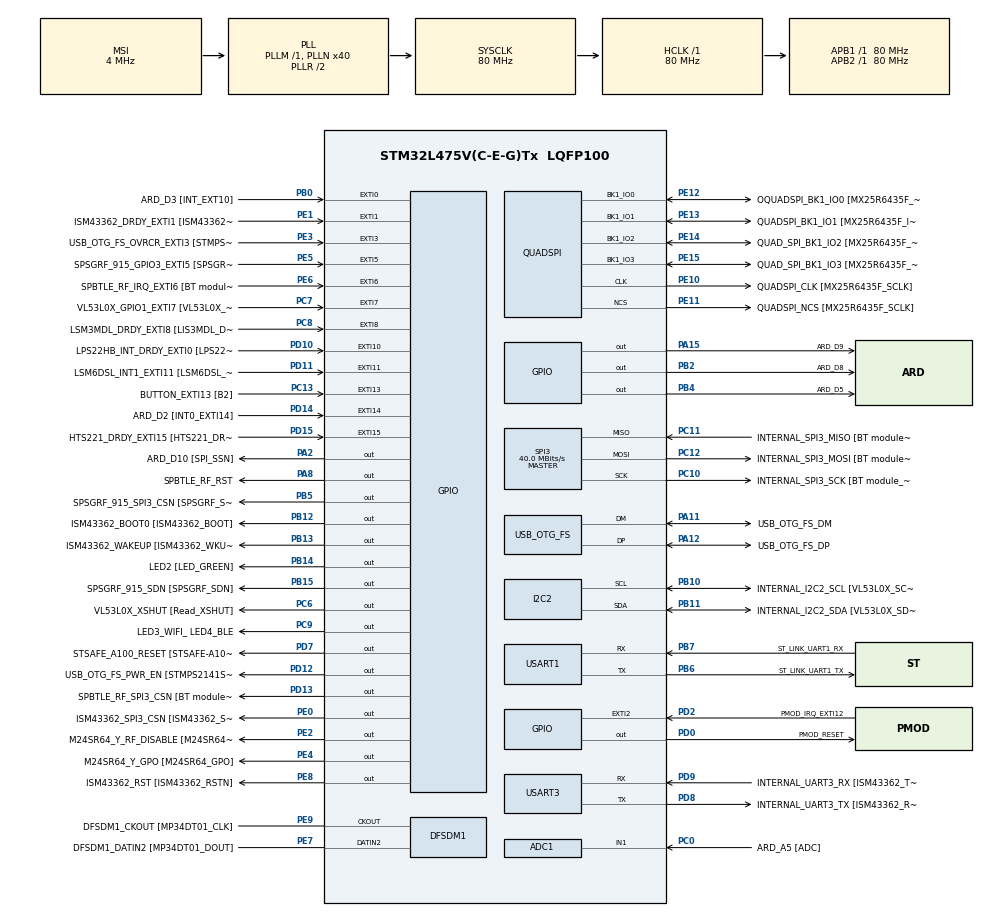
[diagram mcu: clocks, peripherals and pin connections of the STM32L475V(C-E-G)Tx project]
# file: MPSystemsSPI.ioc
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ADC1.Channel-1\#ChannelRegularConversion=ADC_CHANNEL_1
ADC1.NbrOfConversionFlag=1
ADC1.OffsetNumber-1\#ChannelRegularConversion=ADC_OFFSET_NONE
ADC1.Rank-1\#ChannelRegularConversion=1
ADC1.SamplingTime-1\#ChannelRegularConversion=ADC_SAMPLETIME_2CYCLES_5
ADC1.master=1
Dma.Request0=USART1_TX
Dma.USART1_TX.0.Direction=DMA_MEMORY_TO_PERIPH
Dma.USART1_TX.0.Instance=DMA1_Channel4
Dma.USART1_TX.0.MemDataAlignment=DMA_MDATAALIGN_BYTE
Dma.USART1_TX.0.MemInc=DMA_MINC_ENABLE
Dma.USART1_TX.0.Mode=DMA_NORMAL
Dma.USART1_TX.0.PeriphDataAlignment=DMA_PDATAALIGN_BYTE
Dma.USART1_TX.0.PeriphInc=DMA_PINC_DISABLE
Dma.USART1_TX.0.Priority=DMA_PRIORITY_LOW
I2C2.Timing=0x10909CEC
Mcu.Family=STM32L4
Mcu.Name=STM32L475V(C-E-G)Tx
Mcu.Package=LQFP100
NVIC.ADC1_2_IRQn=true\:0\:0\:false\:false\:true\:true\:true
NVIC.DMA1_Channel4_IRQn=true\:0\:0\:false\:false\:true\:false\:true
NVIC.EXTI15_10_IRQn=true\:0\:0\:false\:false\:true\:true\:true
NVIC.EXTI9_5_IRQn=true\:0\:0\:false\:false\:true\:true\:true
NVIC.PriorityGroup=NVIC_PRIORITYGROUP_4
NVIC.USART1_IRQn=true\:0\:0\:false\:false\:true\:true\:true
PA0.GPIO_Label=ARD_D1 [UART4_TX]
PA0.Signal=UART4_TX
PA1.GPIO_Label=ARD_D0 [UART4_RX]
PA1.Signal=UART4_RX
PA10.GPIO_Label=USB_OTG_FS_ID
PA10.Signal=USB_OTG_FS_ID
PA11.GPIO_Label=USB_OTG_FS_DM
PA11.Mode=Device_Only
PA11.Signal=USB_OTG_FS_DM
PA12.GPIO_Label=USB_OTG_FS_DP
PA12.Mode=Device_Only
PA12.Signal=USB_OTG_FS_DP
PA13\ (JTMS-SWDIO).GPIO_Label=SYS_JTMS_SWDIO
PA13\ (JTMS-SWDIO).Mode=Serial_Wire
PA13\ (JTMS-SWDIO).Signal=SYS_JTMS-SWDIO
PA14\ (JTCK-SWCLK).GPIO_Label=SYS_JTCK_SWCLK
PA14\ (JTCK-SWCLK).Mode=Serial_Wire
PA14\ (JTCK-SWCLK).Signal=SYS_JTCK-SWCLK
PA15\ (JTDI).GPIO_Label=ARD_D9
PA15\ (JTDI).Signal=GPIO_Output
PA2.GPIO_Label=ARD_D10 [SPI_SSN]
PA2.Signal=GPIO_Output
PA3.GPIO_Label=ARD_D4
PA3.Signal=S_TIM2_CH4
PA4.GPIO_Label=ARD_D7
PA4.Signal=ADCx_IN9
PA5.GPIO_Label=ARD_D13 [SPI1_SCK]
PA5.Signal=SPI1_SCK
PA6.GPIO_Label=ARD_D12 [SPI1_MISO]
PA6.Signal=SPI1_MISO
PA7.GPIO_Label=ARD_D11 [SPI1_MOSI]
PA7.Signal=SPI1_MOSI
PA8.GPIO_Label=SPBTLE_RF_RST
PA8.Signal=GPIO_Output
PA9.GPIO_Label=USB_OTG_FS_VBUS [STMPS2141STR_OUT]
PA9.Signal=USB_OTG_FS_VBUS
PB0.GPIO_Label=ARD_D3 [INT_EXT10]
PB0.Signal=GPXTI0
PB1.GPIO_Label=ARD_D6 [ADC1_IN6]
PB1.Signal=ADCx_IN16
PB10.GPIO_Label=INTERNAL_I2C2_SCL [VL53L0X_SCL]
PB10.Mode=I2C
PB10.Signal=I2C2_SCL
PB11.GPIO_Label=INTERNAL_I2C2_SDA [VL53L0X_SDA]
PB11.Mode=I2C
PB11.Signal=I2C2_SDA
PB12.GPIO_Label=ISM43362_BOOT0 [ISM43362_BOOT]
PB12.Signal=GPIO_Output
PB13.GPIO_Label=ISM43362_WAKEUP [ISM43362_WKUP]
PB13.Signal=GPIO_Output
PB14.GPIO_Label=LED2 [LED_GREEN]
PB14.Signal=GPIO_Output
PB15.GPIO_Label=SPSGRF_915_SDN [SPSGRF_SDN]
PB15.Signal=GPIO_Output
PB2.GPIO_Label=ARD_D8
PB2.Signal=GPIO_Output
PB3\ (JTDO-TRACESWO).GPIO_Label=SYS_JTD0_SWO
PB3\ (JTDO-TRACESWO).Signal=SYS_JTDO-SWO
PB4\ (NJTRST).GPIO_Label=ARD_D5
PB4\ (NJTRST).Signal=GPIO_Output
PB5.GPIO_Label=SPSGRF_915_SPI3_CSN [SPSGRF_SPI_CS]
PB5.PinState=GPIO_PIN_SET
PB5.Signal=GPIO_Output
PB6.GPIO_Label=ST_LINK_UART1_TX
PB6.Mode=Asynchronous
PB6.Signal=USART1_TX
PB7.GPIO_Label=ST_LINK_UART1_RX
PB7.Mode=Asynchronous
PB7.Signal=USART1_RX
PB8.GPIO_Label=ARD_D15 [I2C1_SCL]
PB8.Signal=I2C1_SCL
PB9.GPIO_Label=ARD_D14 [I2C1_SDA]
PB9.Signal=I2C1_SDA
PC0.GPIO_Label=ARD_A5 [ADC]
PC0.Signal=ADCx_IN1
PC1.GPIO_Label=ARD_A4 [ADC]
PC1.Signal=ADCx_IN2
PC10.GPIO_Label=INTERNAL_SPI3_SCK [BT module_SPI_SCLK] [ISM43362_SCK]
PC10.Mode=Full_Duplex_Master
PC10.Signal=SPI3_SCK
PC11.GPIO_Label=INTERNAL_SPI3_MISO [BT module_SPI_MISO] [ISM43362_MISO]
PC11.Mode=Full_Duplex_Master
PC11.Signal=SPI3_MISO
PC12.GPIO_Label=INTERNAL_SPI3_MOSI [BT module_SPI_MOSI] [ISM43362_MOSI]
PC12.Mode=Full_Duplex_Master
PC12.Signal=SPI3_MOSI
PC13.GPIO_Label=BUTTON_EXTI13 [B2]
PC13.GPIO_ModeDefaultEXTI=GPIO_MODE_IT_FALLING
PC13.Signal=GPXTI13
PC14-OSC32_IN\ (PC14).Mode=LSE-External-Oscillator
PC14-OSC32_IN\ (PC14).Signal=RCC_OSC32_IN
PC15-OSC32_OUT\ (PC15).Mode=LSE-External-Oscillator
PC15-OSC32_OUT\ (PC15).Signal=RCC_OSC32_OUT
PC2.GPIO_Label=ARD_A3 [ADC]
PC2.Signal=ADCx_IN3
PC3.GPIO_Label=ARD_A2 [ADC]
PC3.Signal=ADCx_IN4
PC4.GPIO_Label=ARD_A1 [ADC]
PC4.Signal=ADCx_IN13
PC5.GPIO_Label=ARD_A0 [ADC]
PC5.Signal=ADCx_IN14
PC6.GPIO_Label=VL53L0X_XSHUT [Read_XSHUT]
PC6.Signal=GPIO_Output
PC7.GPIO_Label=VL53L0X_GPIO1_EXTI7 [VL53L0X_GPIO1]
PC7.Signal=GPXTI7
PC8.GPIO_Label=LSM3MDL_DRDY_EXTI8 [LIS3MDL_DRDY]
PC8.Signal=GPXTI8
PC9.GPIO_Label=LED3_WIFI_ LED4_BLE
PC9.Signal=GPIO_Output
PD0.GPIO_Label=PMOD_RESET
PD0.Signal=GPIO_Output
PD1.GPIO_Label=PMOD_SPI2_SCK
PD1.Signal=SPI2_SCK
PD10.GPIO_Label=LPS22HB_INT_DRDY_EXTI0 [LPS22HB_INT_DRDY] 
PD10.Signal=GPXTI10
PD11.GPIO_Label=LSM6DSL_INT1_EXTI11 [LSM6DSL_INT1]
PD11.Signal=GPXTI11
PD12.GPIO_Label=USB_OTG_FS_PWR_EN [STMPS2141STR_EN]
PD12.Signal=GPIO_Output
PD13.GPIO_Label=SPBTLE_RF_SPI3_CSN [BT module_SPI_CS]
PD13.PinState=GPIO_PIN_SET
PD13.Signal=GPIO_Output
PD14.GPIO_Label=ARD_D2 [INT0_EXTI14]
PD14.Signal=GPXTI14
PD15.GPIO_Label=HTS221_DRDY_EXTI15 [HTS221_DRDY]
PD15.Signal=GPXTI15
PD2.GPIO_Label=PMOD_IRQ_EXTI12
PD2.Signal=GPXTI2
PD3.GPIO_Label=PMOD_UART2_CTS
PD3.Signal=USART2_CTS
PD4.GPIO_Label=PMOD_UART2_RTS
PD4.Signal=USART2_RTS
PD5.GPIO_Label=PMOD_UART2_TX
PD5.Signal=USART2_TX
PD6.GPIO_Label=PMOD_UART2_RX
PD6.Signal=USART2_RX
PD7.GPIO_Label=STSAFE_A100_RESET [STSAFE-A100_RESET]
PD7.Signal=GPIO_Output
PD8.GPIO_Label=INTERNAL_UART3_TX [ISM43362_RX]
PD8.Mode=Asynchronous
PD8.Signal=USART3_TX
PD9.GPIO_Label=INTERNAL_UART3_RX [ISM43362_TX]
PD9.Mode=Asynchronous
PD9.Signal=USART3_RX
PE0.GPIO_Label=ISM43362_SPI3_CSN [ISM43362_SSN]
PE0.PinState=GPIO_PIN_SET
PE0.Signal=GPIO_Output
PE1.GPIO_Label=ISM43362_DRDY_EXTI1 [ISM43362_DATARDY]
PE1.Signal=GPXTI1
PE10.GPIO_Label=QUADSPI_CLK [MX25R6435F_SCLK]
PE10.Mode=Single Bank
PE10.Signal=QUADSPI_CLK
PE11.GPIO_Label=QUADSPI_NCS [MX25R6435F_SCLK]
PE11.Mode=Single Bank
PE11.Signal=QUADSPI_NCS
PE12.GPIO_Label=OQUADSPI_BK1_IO0 [MX25R6435F_IO0]
PE12.Mode=Single Bank
PE12.Signal=QUADSPI_BK1_IO0
PE13.GPIO_Label=QUADSPI_BK1_IO1 [MX25R6435F_IO1]
PE13.Mode=Single Bank
PE13.Signal=QUADSPI_BK1_IO1
PE14.GPIO_Label=QUAD_SPI_BK1_IO2 [MX25R6435F_IO2]
PE14.Mode=Single Bank
PE14.Signal=QUADSPI_BK1_IO2
PE15.GPIO_Label=QUAD_SPI_BK1_IO3 [MX25R6435F_IO3]
PE15.Mode=Single Bank
PE15.Signal=QUADSPI_BK1_IO3
PE2.GPIO_Label=M24SR64_Y_RF_DISABLE [M24SR64_RFDIS]
PE2.Signal=GPIO_Output
PE3.GPIO_Label=USB_OTG_FS_OVRCR_EXTI3 [STMPS2141STR_FAULT]
PE3.Signal=GPXTI3
PE4.GPIO_Label=M24SR64_Y_GPO [M24SR64_GPO]
PE4.Signal=GPIO_Output
PE5.GPIO_Label=SPSGRF_915_GPIO3_EXTI5 [SPSGRF_GPIO_3]
PE5.Signal=GPXTI5
PE6.GPIO_Label=SPBTLE_RF_IRQ_EXTI6 [BT module_SPI_IRQ]
PE6.Signal=GPXTI6
PE7.GPIO_Label=DFSDM1_DATIN2 [MP34DT01_DOUT]
PE7.Signal=S_DATAIN2DFSDM1
PE8.GPIO_Label=ISM43362_RST [ISM43362_RSTN]
PE8.Signal=GPIO_Output
PE9.GPIO_Label=DFSDM1_CKOUT [MP34DT01_CLK]
PE9.Signal=S_CKOUTDFSDM1
ProjectManager.HeapSize=0x200
ProjectManager.StackSize=0x400
ProjectManager.TargetToolchain=STM32CubeIDE
RCC.ADCFreq_Value=48000000
RCC.AHBFreq_Value=80000000
RCC.APB1Freq_Value=80000000
RCC.APB1TimFreq_Value=80000000
RCC.APB2Freq_Value=80000000
RCC.APB2TimFreq_Value=80000000
RCC.CortexFreq_Value=80000000
RCC.HCLKFreq_Value=80000000
RCC.HSE_VALUE=8000000
RCC.HSI_VALUE=16000000
RCC.MSI_VALUE=4000000
RCC.PLLN=40
RCC.PLLSAI1N=24
RCC.SYSCLKFreq_VALUE=80000000
RCC.SYSCLKSource=RCC_SYSCLKSOURCE_PLLCLK
RCC.USBFreq_Value=48000000
RCC.VCOOutputFreq_Value=160000000
SH.ADCx_IN1.0=ADC1_IN1,IN1-Single-Ended
SH.ADCx_IN13.0=ADC1_IN13
SH.ADCx_IN14.0=ADC1_IN14
SH.ADCx_IN16.0=ADC1_IN16
SH.ADCx_IN2.0=ADC1_IN2
SH.ADCx_IN3.0=ADC1_IN3
SH.ADCx_IN4.0=ADC1_IN4
SH.ADCx_IN9.0=ADC1_IN9
SH.S_CKOUTDFSDM1.0=DFSDM1_CKOUT,CKOUT
SH.S_CKOUTDFSDM1.1=DFSDM1_CKOUT,PDM_SPI_Input_from_ch12_and_Internal_Clock
SH.S_DATAIN2DFSDM1.0=DFSDM1_DATIN2,PDM_SPI_Input_from_ch12_and_Internal_Clock
SH.S_TIM2_CH4.0=TIM2_CH4
SPI3.CalculateBaudRate=40.0 MBits/s
SPI3.Direction=SPI_DIRECTION_2LINES
SPI3.Mode=SPI_MODE_MASTER
SPI3.VirtualType=VM_MASTER
USART1.VirtualMode-Asynchronous=VM_ASYNC
USART3.VirtualMode-Asynchronous=VM_ASYNC
USB_OTG_FS.VirtualMode=Device_Only
board=B-L475E-IOT01A1

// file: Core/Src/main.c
/* USER CODE BEGIN Header */
/**
 * *****************************************************************************
 * Name: Jonathan Dean
 * Assignment: #2
 * Program Summary:
 * This program reads Temperature and Humidity values. When a button is pressed
 * (PC13), the program switches to reading Accelerometer values. When pressed
 * again, it switches back to reading Temperature and Humidity.
 * *****************************************************************************
  ******************************************************************************
  * @file           : main.c
  * @brief          : Main program body
  ******************************************************************************
  * @attention
  *
  * <h2><center>&copy; Copyright (c) 2020 STMicroelectronics.
  * All rights reserved.</center></h2>
  *
  * This software component is licensed by ST under BSD 3-Clause license,
  * the "License"; You may not use this file except in compliance with the
  * License. You may obtain a copy of the License at:
  *                        opensource.org/licenses/BSD-3-Clause
  *
  ******************************************************************************
  */
/* USER CODE END Header */
#include "main.h"

/* USER CODE BEGIN Includes */
#include <stdint.h>
#include "SensorManager.h"
#include "Time.h" // Custom Time Library"
#include "wifi.h"
#include "ADC.h"
#include "DebugUART.h"
/* USER CODE END Includes */

/* USER CODE BEGIN PD */
#define BUTTON_DEBOUNCE_TIME_MS MS(100)
/* USER CODE END PD */

ADC_HandleTypeDef hadc1;

DFSDM_Channel_HandleTypeDef hdfsdm1_channel1;

I2C_HandleTypeDef hi2c2;

QSPI_HandleTypeDef hqspi;

SPI_HandleTypeDef hspi3;

UART_HandleTypeDef huart1;
UART_HandleTypeDef huart3;
DMA_HandleTypeDef hdma_usart1_tx;

PCD_HandleTypeDef hpcd_USB_OTG_FS;

void SystemClock_Config(void);
static void MX_GPIO_Init(void);
static void MX_DMA_Init(void);
static void MX_DFSDM1_Init(void);
static void MX_I2C2_Init(void);
static void MX_QUADSPI_Init(void);
static void MX_SPI3_Init(void);
static void MX_USART1_UART_Init(void);
static void MX_USART3_UART_Init(void);
static void MX_USB_OTG_FS_PCD_Init(void);
static void MX_ADC1_Init(void);

int main(void)
{

  /* MCU Configuration--------------------------------------------------------*/

  /* Reset of all peripherals, Initializes the Flash interface and the Systick. */
  HAL_Init();

  /* Configure the system clock */
  SystemClock_Config();

  /* USER CODE BEGIN SysInit */
  Time_Init(); // initialize timer
  /* USER CODE END SysInit */

  /* Initialize all configured peripherals */
  MX_GPIO_Init();
  MX_DMA_Init();
  MX_DFSDM1_Init();
  MX_I2C2_Init();
  MX_QUADSPI_Init();
  MX_SPI3_Init();
  MX_USART1_UART_Init();
  MX_USART3_UART_Init();
  MX_USB_OTG_FS_PCD_Init();
  MX_ADC1_Init();
  /* USER CODE BEGIN 2 */
  /*if (WIFI_Init() == WIFI_STATUS_OK)
  {
  // Remember not to commit this with actual credentials
	  if (WIFI_Connect("SSID","PASS",WIFI_ECN_WPA2_PSK) != WIFI_STATUS_OK)
	  {
		  uint8_t TARGET_IP[4] = {XXX,XXX,XXX,XXX};
		  if (WIFI_OpenClientConnection(SOC_NUMBER, WIFI_TCP_PROTOCOL, "XXXXXXX", TARGET_IP, PORT, L_PORT) == WIFI_STATUS_OK)
		  {

		  }
	  }
  }
  else
  {
	// Wifi Failed to Initialize
  }*/
  DebugUARTInit(&huart1); // initialize uart debug readout

  ADC_Init(&hadc1, ADC_MOISTURE);

  SensorInit(STTemperature);
  SensorInit(STHumidity);
  SensorInit(STAccelerometerX);
  SensorInit(STAccelerometerY);
  SensorInit(STAccelerometerZ);
  SensorInit(STSoilMoisture);
  //SensorInit(STGyroscopeX);
  //SensorInit(STGyroscopeY);
  //SensorInit(STGyroscopeZ);
  EnableSensor(STTemperature);
  EnableSensor(STHumidity);
  EnableSensor(STSoilMoisture);

  /* USER CODE END 2 */

  /* Infinite loop */
  while (1)
  {

    /* USER CODE BEGIN 3 */

	  ADC_ReadTask();
	  SensorTask();

  }
  /* USER CODE END 3 */
}

void SystemClock_Config(void)
{
  RCC_OscInitTypeDef RCC_OscInitStruct = {0};
  RCC_ClkInitTypeDef RCC_ClkInitStruct = {0};
  RCC_PeriphCLKInitTypeDef PeriphClkInit = {0};

  /** Configure LSE Drive Capability
  */
  HAL_PWR_EnableBkUpAccess();
  __HAL_RCC_LSEDRIVE_CONFIG(RCC_LSEDRIVE_LOW);
  /** Initializes the RCC Oscillators according to the specified parameters
  * in the RCC_OscInitTypeDef structure.
  */
  RCC_OscInitStruct.OscillatorType = RCC_OSCILLATORTYPE_LSE|RCC_OSCILLATORTYPE_MSI;
  RCC_OscInitStruct.LSEState = RCC_LSE_ON;
  RCC_OscInitStruct.MSIState = RCC_MSI_ON;
  RCC_OscInitStruct.MSICalibrationValue = 0;
  RCC_OscInitStruct.MSIClockRange = RCC_MSIRANGE_6;
  RCC_OscInitStruct.PLL.PLLState = RCC_PLL_ON;
  RCC_OscInitStruct.PLL.PLLSource = RCC_PLLSOURCE_MSI;
  RCC_OscInitStruct.PLL.PLLM = 1;
  RCC_OscInitStruct.PLL.PLLN = 40;
  RCC_OscInitStruct.PLL.PLLP = RCC_PLLP_DIV7;
  RCC_OscInitStruct.PLL.PLLQ = RCC_PLLQ_DIV2;
  RCC_OscInitStruct.PLL.PLLR = RCC_PLLR_DIV2;
  if (HAL_RCC_OscConfig(&RCC_OscInitStruct) != HAL_OK)
  {
    Error_Handler();
  }
  /** Initializes the CPU, AHB and APB buses clocks
  */
  RCC_ClkInitStruct.ClockType = RCC_CLOCKTYPE_HCLK|RCC_CLOCKTYPE_SYSCLK
                              |RCC_CLOCKTYPE_PCLK1|RCC_CLOCKTYPE_PCLK2;
  RCC_ClkInitStruct.SYSCLKSource = RCC_SYSCLKSOURCE_PLLCLK;
  RCC_ClkInitStruct.AHBCLKDivider = RCC_SYSCLK_DIV1;
  RCC_ClkInitStruct.APB1CLKDivider = RCC_HCLK_DIV1;
  RCC_ClkInitStruct.APB2CLKDivider = RCC_HCLK_DIV1;

  if (HAL_RCC_ClockConfig(&RCC_ClkInitStruct, FLASH_LATENCY_4) != HAL_OK)
  {
    Error_Handler();
  }
  PeriphClkInit.PeriphClockSelection = RCC_PERIPHCLK_USART1|RCC_PERIPHCLK_USART3
                              |RCC_PERIPHCLK_I2C2|RCC_PERIPHCLK_DFSDM1
                              |RCC_PERIPHCLK_USB|RCC_PERIPHCLK_ADC;
  PeriphClkInit.Usart1ClockSelection = RCC_USART1CLKSOURCE_PCLK2;
  PeriphClkInit.Usart3ClockSelection = RCC_USART3CLKSOURCE_PCLK1;
  PeriphClkInit.I2c2ClockSelection = RCC_I2C2CLKSOURCE_PCLK1;
  PeriphClkInit.AdcClockSelection = RCC_ADCCLKSOURCE_PLLSAI1;
  PeriphClkInit.Dfsdm1ClockSelection = RCC_DFSDM1CLKSOURCE_PCLK;
  PeriphClkInit.UsbClockSelection = RCC_USBCLKSOURCE_PLLSAI1;
  PeriphClkInit.PLLSAI1.PLLSAI1Source = RCC_PLLSOURCE_MSI;
  PeriphClkInit.PLLSAI1.PLLSAI1M = 1;
  PeriphClkInit.PLLSAI1.PLLSAI1N = 24;
  PeriphClkInit.PLLSAI1.PLLSAI1P = RCC_PLLP_DIV7;
  PeriphClkInit.PLLSAI1.PLLSAI1Q = RCC_PLLQ_DIV2;
  PeriphClkInit.PLLSAI1.PLLSAI1R = RCC_PLLR_DIV2;
  PeriphClkInit.PLLSAI1.PLLSAI1ClockOut = RCC_PLLSAI1_48M2CLK|RCC_PLLSAI1_ADC1CLK;
  if (HAL_RCCEx_PeriphCLKConfig(&PeriphClkInit) != HAL_OK)
  {
    Error_Handler();
  }
  /** Configure the main internal regulator output voltage
  */
  if (HAL_PWREx_ControlVoltageScaling(PWR_REGULATOR_VOLTAGE_SCALE1) != HAL_OK)
  {
    Error_Handler();
  }
  /** Enable MSI Auto calibration
  */
  HAL_RCCEx_EnableMSIPLLMode();
}

static void MX_ADC1_Init(void)
{

  ADC_MultiModeTypeDef multimode = {0};
  ADC_ChannelConfTypeDef sConfig = {0};

  /** Common config
  */
  hadc1.Instance = ADC1;
  hadc1.Init.ClockPrescaler = ADC_CLOCK_ASYNC_DIV1;
  hadc1.Init.Resolution = ADC_RESOLUTION_12B;
  hadc1.Init.DataAlign = ADC_DATAALIGN_RIGHT;
  hadc1.Init.ScanConvMode = ADC_SCAN_DISABLE;
  hadc1.Init.EOCSelection = ADC_EOC_SINGLE_CONV;
  hadc1.Init.LowPowerAutoWait = DISABLE;
  hadc1.Init.ContinuousConvMode = DISABLE;
  hadc1.Init.NbrOfConversion = 1;
  hadc1.Init.DiscontinuousConvMode = DISABLE;
  hadc1.Init.ExternalTrigConv = ADC_SOFTWARE_START;
  hadc1.Init.ExternalTrigConvEdge = ADC_EXTERNALTRIGCONVEDGE_NONE;
  hadc1.Init.DMAContinuousRequests = DISABLE;
  hadc1.Init.Overrun = ADC_OVR_DATA_PRESERVED;
  hadc1.Init.OversamplingMode = DISABLE;
  if (HAL_ADC_Init(&hadc1) != HAL_OK)
  {
    Error_Handler();
  }
  /** Configure the ADC multi-mode
  */
  multimode.Mode = ADC_MODE_INDEPENDENT;
  if (HAL_ADCEx_MultiModeConfigChannel(&hadc1, &multimode) != HAL_OK)
  {
    Error_Handler();
  }
  /** Configure Regular Channel
  */
  sConfig.Channel = ADC_CHANNEL_1;
  sConfig.Rank = ADC_REGULAR_RANK_1;
  sConfig.SamplingTime = ADC_SAMPLETIME_2CYCLES_5;
  sConfig.SingleDiff = ADC_SINGLE_ENDED;
  sConfig.OffsetNumber = ADC_OFFSET_NONE;
  sConfig.Offset = 0;
  if (HAL_ADC_ConfigChannel(&hadc1, &sConfig) != HAL_OK)
  {
    Error_Handler();
  }

}

static void MX_DFSDM1_Init(void)
{

  hdfsdm1_channel1.Instance = DFSDM1_Channel1;
  hdfsdm1_channel1.Init.OutputClock.Activation = ENABLE;
  hdfsdm1_channel1.Init.OutputClock.Selection = DFSDM_CHANNEL_OUTPUT_CLOCK_SYSTEM;
  hdfsdm1_channel1.Init.OutputClock.Divider = 2;
  hdfsdm1_channel1.Init.Input.Multiplexer = DFSDM_CHANNEL_EXTERNAL_INPUTS;
  hdfsdm1_channel1.Init.Input.DataPacking = DFSDM_CHANNEL_STANDARD_MODE;
  hdfsdm1_channel1.Init.Input.Pins = DFSDM_CHANNEL_FOLLOWING_CHANNEL_PINS;
  hdfsdm1_channel1.Init.SerialInterface.Type = DFSDM_CHANNEL_SPI_RISING;
  hdfsdm1_channel1.Init.SerialInterface.SpiClock = DFSDM_CHANNEL_SPI_CLOCK_INTERNAL;
  hdfsdm1_channel1.Init.Awd.FilterOrder = DFSDM_CHANNEL_FASTSINC_ORDER;
  hdfsdm1_channel1.Init.Awd.Oversampling = 1;
  hdfsdm1_channel1.Init.Offset = 0;
  hdfsdm1_channel1.Init.RightBitShift = 0x00;
  if (HAL_DFSDM_ChannelInit(&hdfsdm1_channel1) != HAL_OK)
  {
    Error_Handler();
  }

}

static void MX_I2C2_Init(void)
{

  hi2c2.Instance = I2C2;
  hi2c2.Init.Timing = 0x10909CEC;
  hi2c2.Init.OwnAddress1 = 0;
  hi2c2.Init.AddressingMode = I2C_ADDRESSINGMODE_7BIT;
  hi2c2.Init.DualAddressMode = I2C_DUALADDRESS_DISABLE;
  hi2c2.Init.OwnAddress2 = 0;
  hi2c2.Init.OwnAddress2Masks = I2C_OA2_NOMASK;
  hi2c2.Init.GeneralCallMode = I2C_GENERALCALL_DISABLE;
  hi2c2.Init.NoStretchMode = I2C_NOSTRETCH_DISABLE;
  if (HAL_I2C_Init(&hi2c2) != HAL_OK)
  {
    Error_Handler();
  }
  /** Configure Analogue filter
  */
  if (HAL_I2CEx_ConfigAnalogFilter(&hi2c2, I2C_ANALOGFILTER_ENABLE) != HAL_OK)
  {
    Error_Handler();
  }
  /** Configure Digital filter
  */
  if (HAL_I2CEx_ConfigDigitalFilter(&hi2c2, 0) != HAL_OK)
  {
    Error_Handler();
  }

}

static void MX_QUADSPI_Init(void)
{

  /* QUADSPI parameter configuration*/
  hqspi.Instance = QUADSPI;
  hqspi.Init.ClockPrescaler = 255;
  hqspi.Init.FifoThreshold = 1;
  hqspi.Init.SampleShifting = QSPI_SAMPLE_SHIFTING_NONE;
  hqspi.Init.FlashSize = 1;
  hqspi.Init.ChipSelectHighTime = QSPI_CS_HIGH_TIME_1_CYCLE;
  hqspi.Init.ClockMode = QSPI_CLOCK_MODE_0;
  if (HAL_QSPI_Init(&hqspi) != HAL_OK)
  {
    Error_Handler();
  }

}

static void MX_SPI3_Init(void)
{

  /* SPI3 parameter configuration*/
  hspi3.Instance = SPI3;
  hspi3.Init.Mode = SPI_MODE_MASTER;
  hspi3.Init.Direction = SPI_DIRECTION_2LINES;
  hspi3.Init.DataSize = SPI_DATASIZE_4BIT;
  hspi3.Init.CLKPolarity = SPI_POLARITY_LOW;
  hspi3.Init.CLKPhase = SPI_PHASE_1EDGE;
  hspi3.Init.NSS = SPI_NSS_SOFT;
  hspi3.Init.BaudRatePrescaler = SPI_BAUDRATEPRESCALER_2;
  hspi3.Init.FirstBit = SPI_FIRSTBIT_MSB;
  hspi3.Init.TIMode = SPI_TIMODE_DISABLE;
  hspi3.Init.CRCCalculation = SPI_CRCCALCULATION_DISABLE;
  hspi3.Init.CRCPolynomial = 7;
  hspi3.Init.CRCLength = SPI_CRC_LENGTH_DATASIZE;
  hspi3.Init.NSSPMode = SPI_NSS_PULSE_ENABLE;
  if (HAL_SPI_Init(&hspi3) != HAL_OK)
  {
    Error_Handler();
  }

}

static void MX_USART1_UART_Init(void)
{

  huart1.Instance = USART1;
  huart1.Init.BaudRate = 115200;
  huart1.Init.WordLength = UART_WORDLENGTH_8B;
  huart1.Init.StopBits = UART_STOPBITS_1;
  huart1.Init.Parity = UART_PARITY_NONE;
  huart1.Init.Mode = UART_MODE_TX_RX;
  huart1.Init.HwFlowCtl = UART_HWCONTROL_NONE;
  huart1.Init.OverSampling = UART_OVERSAMPLING_16;
  huart1.Init.OneBitSampling = UART_ONE_BIT_SAMPLE_DISABLE;
  huart1.AdvancedInit.AdvFeatureInit = UART_ADVFEATURE_NO_INIT;
  if (HAL_UART_Init(&huart1) != HAL_OK)
  {
    Error_Handler();
  }

}

static void MX_USART3_UART_Init(void)
{

  huart3.Instance = USART3;
  huart3.Init.BaudRate = 115200;
  huart3.Init.WordLength = UART_WORDLENGTH_8B;
  huart3.Init.StopBits = UART_STOPBITS_1;
  huart3.Init.Parity = UART_PARITY_NONE;
  huart3.Init.Mode = UART_MODE_TX_RX;
  huart3.Init.HwFlowCtl = UART_HWCONTROL_NONE;
  huart3.Init.OverSampling = UART_OVERSAMPLING_16;
  huart3.Init.OneBitSampling = UART_ONE_BIT_SAMPLE_DISABLE;
  huart3.AdvancedInit.AdvFeatureInit = UART_ADVFEATURE_NO_INIT;
  if (HAL_UART_Init(&huart3) != HAL_OK)
  {
    Error_Handler();
  }

}

static void MX_USB_OTG_FS_PCD_Init(void)
{

  hpcd_USB_OTG_FS.Instance = USB_OTG_FS;
  hpcd_USB_OTG_FS.Init.dev_endpoints = 6;
  hpcd_USB_OTG_FS.Init.speed = PCD_SPEED_FULL;
  hpcd_USB_OTG_FS.Init.phy_itface = PCD_PHY_EMBEDDED;
  hpcd_USB_OTG_FS.Init.Sof_enable = DISABLE;
  hpcd_USB_OTG_FS.Init.low_power_enable = DISABLE;
  hpcd_USB_OTG_FS.Init.lpm_enable = DISABLE;
  hpcd_USB_OTG_FS.Init.battery_charging_enable = DISABLE;
  hpcd_USB_OTG_FS.Init.use_dedicated_ep1 = DISABLE;
  hpcd_USB_OTG_FS.Init.vbus_sensing_enable = DISABLE;
  if (HAL_PCD_Init(&hpcd_USB_OTG_FS) != HAL_OK)
  {
    Error_Handler();
  }

}

static void MX_DMA_Init(void)
{

  /* DMA controller clock enable */
  __HAL_RCC_DMA1_CLK_ENABLE();

  /* DMA interrupt init */
  /* DMA1_Channel4_IRQn interrupt configuration */
  HAL_NVIC_SetPriority(DMA1_Channel4_IRQn, 0, 0);
  HAL_NVIC_EnableIRQ(DMA1_Channel4_IRQn);

}

static void MX_GPIO_Init(void)
{
  GPIO_InitTypeDef GPIO_InitStruct = {0};

  /* GPIO Ports Clock Enable */
  __HAL_RCC_GPIOE_CLK_ENABLE();
  __HAL_RCC_GPIOC_CLK_ENABLE();
  __HAL_RCC_GPIOH_CLK_ENABLE();
  __HAL_RCC_GPIOA_CLK_ENABLE();
  __HAL_RCC_GPIOB_CLK_ENABLE();
  __HAL_RCC_GPIOD_CLK_ENABLE();

  /*Configure GPIO pin Output Level */
  HAL_GPIO_WritePin(GPIOE, M24SR64_Y_RF_DISABLE_Pin|M24SR64_Y_GPO_Pin|ISM43362_RST_Pin, GPIO_PIN_RESET);

  /*Configure GPIO pin Output Level */
  HAL_GPIO_WritePin(GPIOA, ARD_D10_Pin|SPBTLE_RF_RST_Pin|ARD_D9_Pin, GPIO_PIN_RESET);

  /*Configure GPIO pin Output Level */
  HAL_GPIO_WritePin(GPIOB, ARD_D8_Pin|ISM43362_BOOT0_Pin|ISM43362_WAKEUP_Pin|LED2_Pin
                          |SPSGRF_915_SDN_Pin|ARD_D5_Pin, GPIO_PIN_RESET);

  /*Configure GPIO pin Output Level */
  HAL_GPIO_WritePin(GPIOD, USB_OTG_FS_PWR_EN_Pin|PMOD_RESET_Pin|STSAFE_A100_RESET_Pin, GPIO_PIN_RESET);

  /*Configure GPIO pin Output Level */
  HAL_GPIO_WritePin(SPBTLE_RF_SPI3_CSN_GPIO_Port, SPBTLE_RF_SPI3_CSN_Pin, GPIO_PIN_SET);

  /*Configure GPIO pin Output Level */
  HAL_GPIO_WritePin(GPIOC, VL53L0X_XSHUT_Pin|LED3_WIFI__LED4_BLE_Pin, GPIO_PIN_RESET);

  /*Configure GPIO pin Output Level */
  HAL_GPIO_WritePin(SPSGRF_915_SPI3_CSN_GPIO_Port, SPSGRF_915_SPI3_CSN_Pin, GPIO_PIN_SET);

  /*Configure GPIO pin Output Level */
  HAL_GPIO_WritePin(ISM43362_SPI3_CSN_GPIO_Port, ISM43362_SPI3_CSN_Pin, GPIO_PIN_SET);

  /*Configure GPIO pins : M24SR64_Y_RF_DISABLE_Pin M24SR64_Y_GPO_Pin ISM43362_RST_Pin ISM43362_SPI3_CSN_Pin */
  GPIO_InitStruct.Pin = M24SR64_Y_RF_DISABLE_Pin|M24SR64_Y_GPO_Pin|ISM43362_RST_Pin|ISM43362_SPI3_CSN_Pin;
  GPIO_InitStruct.Mode = GPIO_MODE_OUTPUT_PP;
  GPIO_InitStruct.Pull = GPIO_NOPULL;
  GPIO_InitStruct.Speed = GPIO_SPEED_FREQ_LOW;
  HAL_GPIO_Init(GPIOE, &GPIO_InitStruct);

  /*Configure GPIO pins : USB_OTG_FS_OVRCR_EXTI3_Pin SPSGRF_915_GPIO3_EXTI5_Pin SPBTLE_RF_IRQ_EXTI6_Pin ISM43362_DRDY_EXTI1_Pin */
  GPIO_InitStruct.Pin = USB_OTG_FS_OVRCR_EXTI3_Pin|SPSGRF_915_GPIO3_EXTI5_Pin|SPBTLE_RF_IRQ_EXTI6_Pin|ISM43362_DRDY_EXTI1_Pin;
  GPIO_InitStruct.Mode = GPIO_MODE_IT_RISING;
  GPIO_InitStruct.Pull = GPIO_NOPULL;
  HAL_GPIO_Init(GPIOE, &GPIO_InitStruct);

  /*Configure GPIO pin : BUTTON_EXTI13_Pin */
  GPIO_InitStruct.Pin = BUTTON_EXTI13_Pin;
  GPIO_InitStruct.Mode = GPIO_MODE_IT_FALLING;
  GPIO_InitStruct.Pull = GPIO_NOPULL;
  HAL_GPIO_Init(BUTTON_EXTI13_GPIO_Port, &GPIO_InitStruct);

  /*Configure GPIO pins : PH0 PH1 */
  GPIO_InitStruct.Pin = GPIO_PIN_0|GPIO_PIN_1;
  GPIO_InitStruct.Mode = GPIO_MODE_ANALOG;
  GPIO_InitStruct.Pull = GPIO_NOPULL;
  HAL_GPIO_Init(GPIOH, &GPIO_InitStruct);

  /*Configure GPIO pins : ARD_D1_Pin ARD_D0_Pin */
  GPIO_InitStruct.Pin = ARD_D1_Pin|ARD_D0_Pin;
  GPIO_InitStruct.Mode = GPIO_MODE_AF_PP;
  GPIO_InitStruct.Pull = GPIO_NOPULL;
  GPIO_InitStruct.Speed = GPIO_SPEED_FREQ_VERY_HIGH;
  GPIO_InitStruct.Alternate = GPIO_AF8_UART4;
  HAL_GPIO_Init(GPIOA, &GPIO_InitStruct);

  /*Configure GPIO pins : ARD_D10_Pin SPBTLE_RF_RST_Pin ARD_D9_Pin */
  GPIO_InitStruct.Pin = ARD_D10_Pin|SPBTLE_RF_RST_Pin|ARD_D9_Pin;
  GPIO_InitStruct.Mode = GPIO_MODE_OUTPUT_PP;
  GPIO_InitStruct.Pull = GPIO_NOPULL;
  GPIO_InitStruct.Speed = GPIO_SPEED_FREQ_LOW;
  HAL_GPIO_Init(GPIOA, &GPIO_InitStruct);

  /*Configure GPIO pin : ARD_D4_Pin */
  GPIO_InitStruct.Pin = ARD_D4_Pin;
  GPIO_InitStruct.Mode = GPIO_MODE_AF_PP;
  GPIO_InitStruct.Pull = GPIO_NOPULL;
  GPIO_InitStruct.Speed = GPIO_SPEED_FREQ_LOW;
  GPIO_InitStruct.Alternate = GPIO_AF1_TIM2;
  HAL_GPIO_Init(ARD_D4_GPIO_Port, &GPIO_InitStruct);

  /*Configure GPIO pins : ARD_D13_Pin ARD_D12_Pin ARD_D11_Pin */
  GPIO_InitStruct.Pin = ARD_D13_Pin|ARD_D12_Pin|ARD_D11_Pin;
  GPIO_InitStruct.Mode = GPIO_MODE_AF_PP;
  GPIO_InitStruct.Pull = GPIO_NOPULL;
  GPIO_InitStruct.Speed = GPIO_SPEED_FREQ_VERY_HIGH;
  GPIO_InitStruct.Alternate = GPIO_AF5_SPI1;
  HAL_GPIO_Init(GPIOA, &GPIO_InitStruct);

  /*Configure GPIO pin : ARD_D3_Pin */
  GPIO_InitStruct.Pin = ARD_D3_Pin;
  GPIO_InitStruct.Mode = GPIO_MODE_IT_RISING;
  GPIO_InitStruct.Pull = GPIO_NOPULL;
  HAL_GPIO_Init(ARD_D3_GPIO_Port, &GPIO_InitStruct);

  /*Configure GPIO pins : ARD_D8_Pin ISM43362_BOOT0_Pin ISM43362_WAKEUP_Pin LED2_Pin
                           SPSGRF_915_SDN_Pin ARD_D5_Pin SPSGRF_915_SPI3_CSN_Pin */
  GPIO_InitStruct.Pin = ARD_D8_Pin|ISM43362_BOOT0_Pin|ISM43362_WAKEUP_Pin|LED2_Pin
                          |SPSGRF_915_SDN_Pin|ARD_D5_Pin|SPSGRF_915_SPI3_CSN_Pin;
  GPIO_InitStruct.Mode = GPIO_MODE_OUTPUT_PP;
  GPIO_InitStruct.Pull = GPIO_NOPULL;
  GPIO_InitStruct.Speed = GPIO_SPEED_FREQ_LOW;
  HAL_GPIO_Init(GPIOB, &GPIO_InitStruct);

  /*Configure GPIO pins : LPS22HB_INT_DRDY_EXTI0_Pin LSM6DSL_INT1_EXTI11_Pin ARD_D2_Pin HTS221_DRDY_EXTI15_Pin
                           PMOD_IRQ_EXTI12_Pin */
  GPIO_InitStruct.Pin = LPS22HB_INT_DRDY_EXTI0_Pin|LSM6DSL_INT1_EXTI11_Pin|ARD_D2_Pin|HTS221_DRDY_EXTI15_Pin
                          |PMOD_IRQ_EXTI12_Pin;
  GPIO_InitStruct.Mode = GPIO_MODE_IT_RISING;
  GPIO_InitStruct.Pull = GPIO_NOPULL;
  HAL_GPIO_Init(GPIOD, &GPIO_InitStruct);

  /*Configure GPIO pins : USB_OTG_FS_PWR_EN_Pin SPBTLE_RF_SPI3_CSN_Pin PMOD_RESET_Pin STSAFE_A100_RESET_Pin */
  GPIO_InitStruct.Pin = USB_OTG_FS_PWR_EN_Pin|SPBTLE_RF_SPI3_CSN_Pin|PMOD_RESET_Pin|STSAFE_A100_RESET_Pin;
  GPIO_InitStruct.Mode = GPIO_MODE_OUTPUT_PP;
  GPIO_InitStruct.Pull = GPIO_NOPULL;
  GPIO_InitStruct.Speed = GPIO_SPEED_FREQ_LOW;
  HAL_GPIO_Init(GPIOD, &GPIO_InitStruct);

  /*Configure GPIO pins : VL53L0X_XSHUT_Pin LED3_WIFI__LED4_BLE_Pin */
  GPIO_InitStruct.Pin = VL53L0X_XSHUT_Pin|LED3_WIFI__LED4_BLE_Pin;
  GPIO_InitStruct.Mode = GPIO_MODE_OUTPUT_PP;
  GPIO_InitStruct.Pull = GPIO_NOPULL;
  GPIO_InitStruct.Speed = GPIO_SPEED_FREQ_LOW;
  HAL_GPIO_Init(GPIOC, &GPIO_InitStruct);

  /*Configure GPIO pins : VL53L0X_GPIO1_EXTI7_Pin LSM3MDL_DRDY_EXTI8_Pin */
  GPIO_InitStruct.Pin = VL53L0X_GPIO1_EXTI7_Pin|LSM3MDL_DRDY_EXTI8_Pin;
  GPIO_InitStruct.Mode = GPIO_MODE_IT_RISING;
  GPIO_InitStruct.Pull = GPIO_NOPULL;
  HAL_GPIO_Init(GPIOC, &GPIO_InitStruct);

  /*Configure GPIO pin : PMOD_SPI2_SCK_Pin */
  GPIO_InitStruct.Pin = PMOD_SPI2_SCK_Pin;
  GPIO_InitStruct.Mode = GPIO_MODE_AF_PP;
  GPIO_InitStruct.Pull = GPIO_NOPULL;
  GPIO_InitStruct.Speed = GPIO_SPEED_FREQ_VERY_HIGH;
  GPIO_InitStruct.Alternate = GPIO_AF5_SPI2;
  HAL_GPIO_Init(PMOD_SPI2_SCK_GPIO_Port, &GPIO_InitStruct);

  /*Configure GPIO pins : PMOD_UART2_CTS_Pin PMOD_UART2_RTS_Pin PMOD_UART2_TX_Pin PMOD_UART2_RX_Pin */
  GPIO_InitStruct.Pin = PMOD_UART2_CTS_Pin|PMOD_UART2_RTS_Pin|PMOD_UART2_TX_Pin|PMOD_UART2_RX_Pin;
  GPIO_InitStruct.Mode = GPIO_MODE_AF_PP;
  GPIO_InitStruct.Pull = GPIO_NOPULL;
  GPIO_InitStruct.Speed = GPIO_SPEED_FREQ_VERY_HIGH;
  GPIO_InitStruct.Alternate = GPIO_AF7_USART2;
  HAL_GPIO_Init(GPIOD, &GPIO_InitStruct);

  /*Configure GPIO pins : ARD_D15_Pin ARD_D14_Pin */
  GPIO_InitStruct.Pin = ARD_D15_Pin|ARD_D14_Pin;
  GPIO_InitStruct.Mode = GPIO_MODE_AF_OD;
  GPIO_InitStruct.Pull = GPIO_PULLUP;
  GPIO_InitStruct.Speed = GPIO_SPEED_FREQ_VERY_HIGH;
  GPIO_InitStruct.Alternate = GPIO_AF4_I2C1;
  HAL_GPIO_Init(GPIOB, &GPIO_InitStruct);

  /* EXTI interrupt init*/
  HAL_NVIC_SetPriority(EXTI9_5_IRQn, 0, 0);
  HAL_NVIC_EnableIRQ(EXTI9_5_IRQn);

  HAL_NVIC_SetPriority(EXTI15_10_IRQn, 0, 0);
  HAL_NVIC_EnableIRQ(EXTI15_10_IRQn);

}

/* USER CODE BEGIN 4 */
Tick button_debounce_time = 0; // exti13
void HAL_GPIO_EXTI_Callback(uint16_t GPIO_Pin)
{
	switch (GPIO_Pin)
	{
		case (1<<13):
			if (GetTimeSince_ms(button_debounce_time) > BUTTON_DEBOUNCE_TIME_MS) // button debouncing
			{
				ToggleSensor(STTemperature);
				ToggleSensor(STHumidity);
				ToggleSensor(STAccelerometerX);
				ToggleSensor(STAccelerometerY);
				ToggleSensor(STAccelerometerZ);
				ToggleSensor(STGyroscopeX);
				ToggleSensor(STGyroscopeY);
				ToggleSensor(STGyroscopeZ);
				button_debounce_time = GetTime_ms();
			}

			break;
		default:
			break;
	}
}

/* USER CODE END 4 */

void Error_Handler(void)
{
}

/************************ (C) COPYRIGHT STMicroelectronics *****END OF FILE****/
